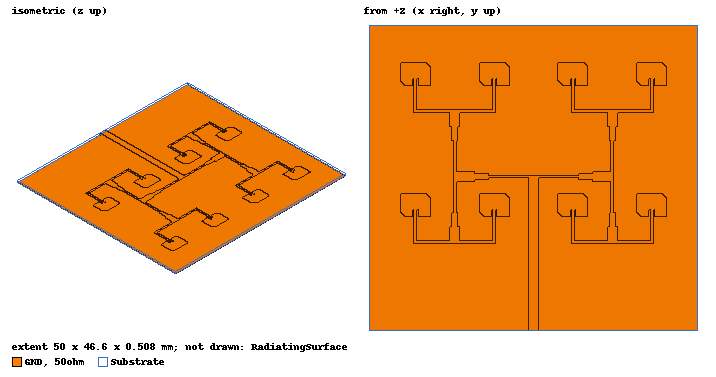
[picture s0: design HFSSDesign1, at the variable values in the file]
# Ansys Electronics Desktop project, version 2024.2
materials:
  vacuum: permittivity=1
  Rogers RT/duroid 5880 (tm): permittivity=2.2 dielectric_loss_tangent=0.0009

design HFSSDesign1 (HFSS, HFSS Terminal Network, model units mm)
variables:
  Lg = 11.67mm
  Wg = 24.61mm
  Hs = 0.508mm
  Ls = 11.67mm
  Ws = 24.61mm
  Wf = 1.565mm
  Lf = 2.2mm
  Lp = 3.51mm
  Wp = 4.591mm
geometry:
  50ohm = rectangle(corner=(11.67mm/2 - 2.2mm, -1.565mm/2, 0.508mm), x_size=2.2mm, y_size=1.565mm)
  100ohm_1 = rectangle(corner=(11.67mm/2 - Lf - 0.455mm, -11.545mm/2, 0.508mm), x_size=0.455mm, y_size=11.545mm)
  Patch_1 = rectangle(corner=(-4mm, -11.545mm/2 - Wp/2 - 0.455mm/2, Hs), x_size=Lp, y_size=Wp)
  Feedline_1 = rectangle(corner=(3.635mm, -0.455mm-11.545mm/2, 0.508mm), x_size=-4.135mm, y_size=0.455mm)
  Feedline_2 = rectangle(corner=(3.635mm, 11.545mm/2, 0.508mm), x_size=-4.135mm, y_size=0.455mm)
  Cut_1 = rectangle(corner=(-1.52mm, -11.545mm/2, 0.508mm), x_size=1.2mm, y_size=0.2mm)
  Patch_1.subtract(Cut_1)
  Cut_2 = rectangle(corner=(-1.52mm, -11.545mm/2-0.455mm-0.2mm, 0.508mm), x_size=1.2mm, y_size=0.2mm)
  Patch_1.subtract(Cut_2)
  Patch_2 = rectangle(corner=(-4mm, 11.545mm/2 -Wp/2 +0.455mm/2, 0.508mm), x_size=Lp, y_size=Wp)
  Cut_3 = rectangle(corner=(-1.52mm, 11.545mm/2-0.2mm, 0.508mm), x_size=1.2mm, y_size=0.2mm)
  Patch_2.subtract(Cut_3)
  Cut_4 = rectangle(corner=(-1.52mm, 11.545mm/2+0.455mm, 0.508mm), x_size=1.2mm, y_size=0.2mm)
  Patch_2.subtract(Cut_4)
  [50ohm, 100ohm_1, Patch_1, Feedline_1, Feedline_2, Patch_2].rotate(axis=Z, angle=270deg)
  Polyline1 = polyline(z=0.508mm, xy in mm: (-4.4065, 4) (-3.7045, 3.298) (-3.7045, 4) (-4.4065, 4), closed, covered)
  Polyline2 = polyline(z=0.508mm, xy in mm: (-8.2955, 1.192) (-7.5935, 0.49) (-8.2955, 0.49) (-8.2955, 1.192), closed, covered)
  Patch_1.subtract(Polyline1, Polyline2)
  Polyline3 = polyline(z=0.508mm, xy in mm: (7.5935, 4) (8.2955, 3.298) (8.2955, 4) (7.5935, 4), closed, covered)
  Polyline4 = polyline(z=0.508mm, xy in mm: (3.7045, 1.192) (3.7045, 0.49) (4.4065, 0.49) (3.7045, 1.192), closed, covered)
  Patch_2.subtract(Polyline3, Polyline4)
  70ohm = rectangle(corner=((0-0.9/2) mm, -5.835mm, 0.508mm), x_size=0.9mm, y_size=-2.14mm)
  100ohm_3 = rectangle(corner=((0-0.455/2) mm, -7.975mm, 0.508mm), x_size=0.455mm, y_size=-10.9mm)
  70ohm1 = rectangle(corner=((0-0.9/2) mm, (-5.835-10.9-2.14) mm, 0.508mm), x_size=0.9mm, y_size=-2.14mm)
  50ohm1 = rectangle(corner=(11.67mm/2 + 2.2mm + 2.14mm + 10.9mm, -1.565mm/2, 0.508mm), x_size=2.2mm, y_size=1.565mm)
  50ohm1.rotate(axis=Z, angle=270deg)
  50ohm1.move(0mm, 0.06mm, 0mm)
  100ohm_2 = rectangle(corner=(11.67mm/2 - Lf - 0.455mm, -11.545mm/2, 0.508mm), x_size=0.455mm, y_size=11.545mm)
  100ohm_2.rotate(axis=Z, angle=270deg)
  100ohm_2.move(0mm, -20.065mm, -0.008mm)
  100ohm_2.move(0mm, 0.03mm, 0.008mm)
  Feedline_3 = rectangle(corner=(3.635mm, -0.455mm-11.545mm/2, 0.508mm), x_size=-4.135mm, y_size=0.455mm)
  Feedline_3.rotate(axis=Z, angle=270deg)
  Feedline_4 = rectangle(corner=(3.635mm, 11.545mm/2, 0.508mm), x_size=-4.135mm, y_size=0.455mm)
  Feedline_4.rotate(axis=Z, angle=270deg)
  [Feedline_3, Feedline_4].move(-0.1725mm, -19.965mm, 0.092mm)
  [Feedline_3, Feedline_4].move(0.1725mm, -0.07mm, -0.092mm)
  Patch_3 = rectangle(corner=(-4mm, -11.545mm/2 - Wp/2 - 0.455mm/2, Hs), x_size=Lp, y_size=Wp)
  Cut_5 = rectangle(corner=(-1.52mm, -11.545mm/2, 0.508mm), x_size=1.2mm, y_size=0.2mm)
  Patch_3.subtract(Cut_5)
  Cut_6 = rectangle(corner=(-1.52mm, -11.545mm/2-0.455mm-0.2mm, 0.508mm), x_size=1.2mm, y_size=0.2mm)
  Patch_3.subtract(Cut_6)
  Patch_3.rotate(axis=Z, angle=270deg)
  Polyline5 = polyline(z=0.508mm, xy in mm: (-4.4065, 4) (-3.7045, 3.298) (-3.7045, 4) (-4.4065, 4), closed, covered)
  Polyline6 = polyline(z=0.508mm, xy in mm: (-8.2955, 1.192) (-7.5935, 0.49) (-8.2955, 0.49) (-8.2955, 1.192), closed, covered)
  Patch_3.subtract(Polyline5, Polyline6)
  Patch_4 = rectangle(corner=(-4mm, 11.545mm/2 -Wp/2 +0.455mm/2, 0.508mm), x_size=Lp, y_size=Wp)
  Cut_7 = rectangle(corner=(-1.52mm, 11.545mm/2-0.2mm, 0.508mm), x_size=1.2mm, y_size=0.2mm)
  Patch_4.subtract(Cut_7)
  Cut_8 = rectangle(corner=(-1.52mm, 11.545mm/2+0.455mm, 0.508mm), x_size=1.2mm, y_size=0.2mm)
  Patch_4.subtract(Cut_8)
  Patch_4.rotate(axis=Z, angle=270deg)
  Polyline7 = polyline(z=0.508mm, xy in mm: (7.5935, 4) (8.2955, 3.298) (8.2955, 4) (7.5935, 4), closed, covered)
  Polyline8 = polyline(z=0.508mm, xy in mm: (3.7045, 1.192) (3.7045, 0.49) (4.4065, 0.49) (3.7045, 1.192), closed, covered)
  Patch_4.subtract(Polyline7, Polyline8)
  [Patch_3, Patch_4].move(-0.0065mm, -19.89mm, 0.092mm)
  [Patch_3, Patch_4].move(0.0065mm, -0.135mm, -0.092mm)
  [50ohm, 100ohm_1, Patch_1, Feedline_1, Feedline_2, Patch_2, 70ohm, 100ohm_3, 70ohm1, 50ohm1, 100ohm_2, Feedline_3, Feedline_4, Patch_3, Patch_4].move(-0.2275mm, 13.425mm, -0.508mm)
  50ohm_H1 = rectangle(corner=(0mm, (0+1.565/2) mm, 0mm), x_size=2.8mm, y_size=-1.565mm)
  70ohm_H1 = rectangle(corner=((0+2.8) mm, (0+0.9/2) mm, 0mm), x_size=2.14mm, y_size=-0.9mm)
  100ohm_H = rectangle(corner=(4.94mm, (0+0.455/2) mm, 0mm), x_size=13.65mm, y_size=-0.455mm)
  70ohm_H2 = rectangle(corner=((0+2.8) mm, (0+0.9/2) mm, 0mm), x_size=2.14mm, y_size=-0.9mm)
  70ohm_H2.move(15.86mm, 0.0275mm, 0mm)
  70ohm_H2.move(-0.07mm, -0.0275mm, 0mm)
  50ohm_H2 = rectangle(corner=(0mm, (0+1.565/2) mm, 0mm), x_size=2.8mm, y_size=-1.565mm)
  50ohm_H2.move(20.8mm, -0.05mm, 0mm)
  50ohm_H2.move(-0.07mm, 0.05mm, 0mm)
  50ohm2 = rectangle(corner=(11.67mm/2 - 2.2mm, -1.565mm/2, 0.508mm), x_size=2.2mm, y_size=1.565mm)
  50ohm2.rotate(axis=Z, angle=270deg)
  50ohm2.move(-0.2275mm, 13.425mm, -0.508mm)
  100ohm_4 = rectangle(corner=(11.67mm/2 - Lf - 0.455mm, -11.545mm/2, 0.508mm), x_size=0.455mm, y_size=11.545mm)
  100ohm_4.rotate(axis=Z, angle=270deg)
  100ohm_4.move(-0.2275mm, 13.425mm, -0.508mm)
  Patch_5 = rectangle(corner=(-4mm, -11.545mm/2 - Wp/2 - 0.455mm/2, Hs), x_size=Lp, y_size=Wp)
  Cut_9 = rectangle(corner=(-1.52mm, -11.545mm/2, 0.508mm), x_size=1.2mm, y_size=0.2mm)
  Patch_5.subtract(Cut_9)
  Cut_10 = rectangle(corner=(-1.52mm, -11.545mm/2-0.455mm-0.2mm, 0.508mm), x_size=1.2mm, y_size=0.2mm)
  Patch_5.subtract(Cut_10)
  Patch_5.rotate(axis=Z, angle=270deg)
  Polyline9 = polyline(z=0.508mm, xy in mm: (-4.4065, 4) (-3.7045, 3.298) (-3.7045, 4) (-4.4065, 4), closed, covered)
  Polyline10 = polyline(z=0.508mm, xy in mm: (-8.2955, 1.192) (-7.5935, 0.49) (-8.2955, 0.49) (-8.2955, 1.192), closed, covered)
  Patch_5.subtract(Polyline9, Polyline10)
  Patch_5.move(-0.2275mm, 13.425mm, -0.508mm)
  Feedline_5 = rectangle(corner=(3.635mm, -0.455mm-11.545mm/2, 0.508mm), x_size=-4.135mm, y_size=0.455mm)
  Feedline_5.rotate(axis=Z, angle=270deg)
  Feedline_5.move(-0.2275mm, 13.425mm, -0.508mm)
  Feedline_6 = rectangle(corner=(3.635mm, 11.545mm/2, 0.508mm), x_size=-4.135mm, y_size=0.455mm)
  Feedline_6.rotate(axis=Z, angle=270deg)
  Feedline_6.move(-0.2275mm, 13.425mm, -0.508mm)
  Patch_6 = rectangle(corner=(-4mm, 11.545mm/2 -Wp/2 +0.455mm/2, 0.508mm), x_size=Lp, y_size=Wp)
  Cut_11 = rectangle(corner=(-1.52mm, 11.545mm/2-0.2mm, 0.508mm), x_size=1.2mm, y_size=0.2mm)
  Patch_6.subtract(Cut_11)
  Cut_12 = rectangle(corner=(-1.52mm, 11.545mm/2+0.455mm, 0.508mm), x_size=1.2mm, y_size=0.2mm)
  Patch_6.subtract(Cut_12)
  Patch_6.rotate(axis=Z, angle=270deg)
  Polyline11 = polyline(z=0.508mm, xy in mm: (7.5935, 4) (8.2955, 3.298) (8.2955, 4) (7.5935, 4), closed, covered)
  Polyline12 = polyline(z=0.508mm, xy in mm: (3.7045, 1.192) (3.7045, 0.49) (4.4065, 0.49) (3.7045, 1.192), closed, covered)
  Patch_6.subtract(Polyline11, Polyline12)
  Patch_6.move(-0.2275mm, 13.425mm, -0.508mm)
  70ohm2 = rectangle(corner=((0-0.9/2) mm, -5.835mm, 0.508mm), x_size=0.9mm, y_size=-2.14mm)
  70ohm2.move(-0.2275mm, 13.425mm, -0.508mm)
  100ohm_5 = rectangle(corner=((0-0.455/2) mm, -7.975mm, 0.508mm), x_size=0.455mm, y_size=-10.9mm)
  100ohm_5.move(-0.2275mm, 13.425mm, -0.508mm)
  70ohm3 = rectangle(corner=((0-0.9/2) mm, (-5.835-10.9-2.14) mm, 0.508mm), x_size=0.9mm, y_size=-2.14mm)
  70ohm3.move(-0.2275mm, 13.425mm, -0.508mm)
  50ohm3 = rectangle(corner=(11.67mm/2 + 2.2mm + 2.14mm + 10.9mm, -1.565mm/2, 0.508mm), x_size=2.2mm, y_size=1.565mm)
  50ohm3.rotate(axis=Z, angle=270deg)
  50ohm3.move(0mm, 0.06mm, 0mm)
  50ohm3.move(-0.2275mm, 13.425mm, -0.508mm)
  100ohm_6 = rectangle(corner=(11.67mm/2 - Lf - 0.455mm, -11.545mm/2, 0.508mm), x_size=0.455mm, y_size=11.545mm)
  100ohm_6.rotate(axis=Z, angle=270deg)
  100ohm_6.move(0mm, -20.065mm, -0.008mm)
  100ohm_6.move(0mm, 0.03mm, 0.008mm)
  100ohm_6.move(-0.2275mm, 13.425mm, -0.508mm)
  Feedline_7 = rectangle(corner=(3.635mm, -0.455mm-11.545mm/2, 0.508mm), x_size=-4.135mm, y_size=0.455mm)
  Feedline_7.rotate(axis=Z, angle=270deg)
  Feedline_7.move(-0.1725mm, -19.965mm, 0.092mm)
  Feedline_7.move(0.1725mm, -0.07mm, -0.092mm)
  Feedline_7.move(-0.2275mm, 13.425mm, -0.508mm)
  Feedline_8 = rectangle(corner=(3.635mm, 11.545mm/2, 0.508mm), x_size=-4.135mm, y_size=0.455mm)
  Feedline_8.rotate(axis=Z, angle=270deg)
  Feedline_8.move(-0.1725mm, -19.965mm, 0.092mm)
  Feedline_8.move(0.1725mm, -0.07mm, -0.092mm)
  Feedline_8.move(-0.2275mm, 13.425mm, -0.508mm)
  Patch_7 = rectangle(corner=(-4mm, -11.545mm/2 - Wp/2 - 0.455mm/2, Hs), x_size=Lp, y_size=Wp)
  Cut_13 = rectangle(corner=(-1.52mm, -11.545mm/2, 0.508mm), x_size=1.2mm, y_size=0.2mm)
  Patch_7.subtract(Cut_13)
  Cut_14 = rectangle(corner=(-1.52mm, -11.545mm/2-0.455mm-0.2mm, 0.508mm), x_size=1.2mm, y_size=0.2mm)
  Patch_7.subtract(Cut_14)
  Patch_7.rotate(axis=Z, angle=270deg)
  Polyline13 = polyline(z=0.508mm, xy in mm: (-4.4065, 4) (-3.7045, 3.298) (-3.7045, 4) (-4.4065, 4), closed, covered)
  Polyline14 = polyline(z=0.508mm, xy in mm: (-8.2955, 1.192) (-7.5935, 0.49) (-8.2955, 0.49) (-8.2955, 1.192), closed, covered)
  Patch_7.subtract(Polyline13, Polyline14)
  Patch_7.move(-0.0065mm, -19.89mm, 0.092mm)
  Patch_7.move(0.0065mm, -0.135mm, -0.092mm)
  Patch_7.move(-0.2275mm, 13.425mm, -0.508mm)
  Patch_8 = rectangle(corner=(-4mm, 11.545mm/2 -Wp/2 +0.455mm/2, 0.508mm), x_size=Lp, y_size=Wp)
  Cut_15 = rectangle(corner=(-1.52mm, 11.545mm/2-0.2mm, 0.508mm), x_size=1.2mm, y_size=0.2mm)
  Patch_8.subtract(Cut_15)
  Cut_16 = rectangle(corner=(-1.52mm, 11.545mm/2+0.455mm, 0.508mm), x_size=1.2mm, y_size=0.2mm)
  Patch_8.subtract(Cut_16)
  Patch_8.rotate(axis=Z, angle=270deg)
  Polyline15 = polyline(z=0.508mm, xy in mm: (7.5935, 4) (8.2955, 3.298) (8.2955, 4) (7.5935, 4), closed, covered)
  Polyline16 = polyline(z=0.508mm, xy in mm: (3.7045, 1.192) (3.7045, 0.49) (4.4065, 0.49) (3.7045, 1.192), closed, covered)
  Patch_8.subtract(Polyline15, Polyline16)
  Patch_8.move(-0.0065mm, -19.89mm, 0.092mm)
  Patch_8.move(0.0065mm, -0.135mm, -0.092mm)
  Patch_8.move(-0.2275mm, 13.425mm, -0.508mm)
  [50ohm2, 100ohm_4, Patch_5, Feedline_5, Feedline_6, Patch_6, 70ohm2, 100ohm_5, 70ohm3, 50ohm3, 100ohm_6, Feedline_7, Feedline_8, Patch_7, Patch_8].move(24mm, 0mm, 0mm)
  [50ohm, 100ohm_1, Patch_1, Feedline_1, Feedline_2, Patch_2, 70ohm, 100ohm_3, 70ohm1, 50ohm1, 100ohm_2, Feedline_3, Feedline_4, Patch_3, Patch_4, 50ohm_H1, 70ohm_H1, 100ohm_H, 70ohm_H2, 50ohm_H2, 50ohm2, 100ohm_4, Patch_5, Feedline_5, Feedline_6, Patch_6, 70ohm2, 100ohm_5, 70ohm3, 50ohm3, 100ohm_6, Feedline_7, Feedline_8, Patch_7, Patch_8].move(-11.765mm, 0.2275mm, 0mm)
  50ohm_Main = rectangle(corner=((0-1.565/2) mm, 0mm, 0mm), x_size=1.565mm, y_size=-23.3mm)
  Substrate [vacuum] = box(corner=(-25mm, -23.3mm, 0mm), size=(50mm, (23.3*2) mm, -0.508mm))
  GND = rectangle(corner=(-25mm, -23.3mm, -0.508mm), x_size=50mm, y_size=46.6mm)
  P1 = rectangle(corner=(-0.7825mm, -23.3mm, 0mm), z_size=-0.508mm, x_size=1.565mm)
  [Patch_7, Feedline_7, 70ohm3, 50ohm3, 100ohm_6, Feedline_8, Patch_8, 100ohm_5, 70ohm2, 50ohm2, 100ohm_4, Feedline_6, Patch_6, Patch_5, Feedline_5].move(-0.015mm, -5.2735594e-16mm, 0mm)
  50ohm.unite(100ohm_1, Patch_1, Feedline_1, Feedline_2, Patch_2, 70ohm, 100ohm_3, 70ohm1, 50ohm1, 100ohm_2, Feedline_3, Feedline_4, Patch_3, Patch_4, 50ohm_H1, 70ohm_H1, 100ohm_H, 70ohm_H2, 50ohm_H2, 50ohm2, 100ohm_4, Patch_5, Feedline_5, Feedline_6, Patch_6, 70ohm2, 100ohm_5, 70ohm3, 50ohm3, 100ohm_6, Feedline_7, Feedline_8, Patch_7, Patch_8, 50ohm_Main)
  RadiatingSurface [vacuum] = region(absolute_offset=3.8461538mm on all sides)
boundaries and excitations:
  PerfE1: Perfect E Objects=[50ohm, GND]
  Open1: Radiation Objects=RadiatingSurface
  1: Lumped Port Objects=P1 LumpedPortType=Modal Modes{Mode1{IntLine{(0, -23.3, -0.508) -> (0, -23.3, 0)} CharImp=Zpi RenormImp=50ohm}} Impedance=50ohm
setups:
  Setup1: HfssDriven Frequency=32GHz MaxDeltaS=0.02 MaximumPasses=6 MinimumPasses=1 MinimumConvergedPasses=1 PercentRefinement=30 BasisOrder=1 PortAccuracy=2 DrivenSolverType="Direct Solver"
    sweep Sweep: 20GHz to 40GHz, 101 points; Type=Fast SaveFields
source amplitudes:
  1:1: 1V 0deg
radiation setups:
  3D: Infinite Sphere Theta=0deg..180deg step 2deg Phi=-180deg..180deg step 2deg
  Elevation: Infinite Sphere Theta=-180deg..180deg step 1deg Phi=0deg..90deg step 90deg
  Azimuth: Infinite Sphere Theta=90deg..90deg step 0deg Phi=-180deg..180deg step 1deg
  Infinite Sphere1: Infinite Sphere Theta=-180deg..180deg step 10deg Phi=0deg..360deg step 10deg
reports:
  Terminal S Parameter Plot 1: dB(St(1,1)) vs Freq on Setup1 : Sweep; markers m1 at 34.6GHz, MY1 at y=-13.1612
  Axial Ratio Plot 1: dB(AxialRatioValue) vs Freq on Setup1 : Sweep, Infinite Sphere1 [Phi=0deg Theta=0deg]; markers m1 at 38.6GHz
